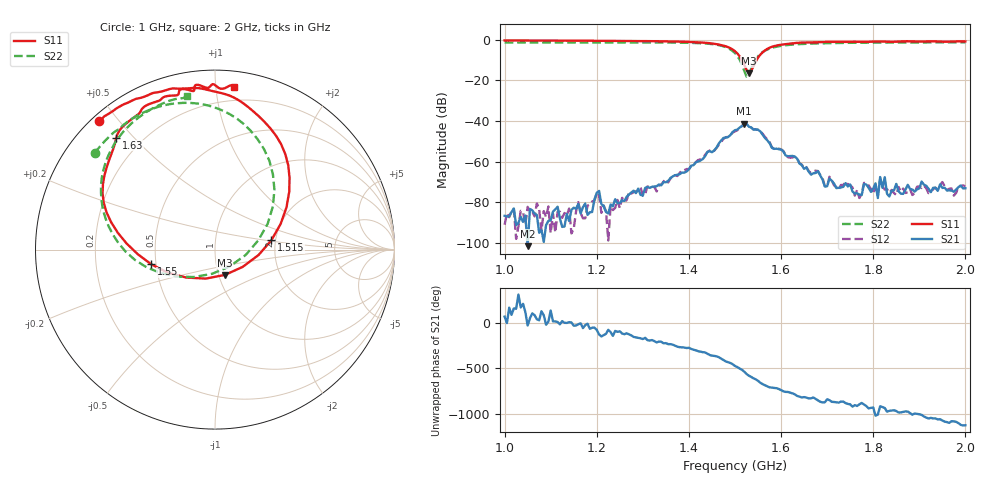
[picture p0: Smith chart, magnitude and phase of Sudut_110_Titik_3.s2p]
# Hz S RI R 50
! CMT, C1220, 16058040, 17.2.0/1
! Date: 14/08/2018 12:38:04
! Data: Format (Calibration Info)
! Freq  S11: Re/Im (F2)  S21: Re/Im (F2)  S12: Re/Im (F2)  S22: Re/Im (F2)
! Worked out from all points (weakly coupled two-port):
!   201 points, 1 GHz to 2 GHz, reference 50 ohm
!   highest |S21| = -41.34 dB at 1.52 GHz (marker M1); lowest = -101.6 dB at 1.05 GHz (marker M2)
!   lowest |S11| = -16.4 dB at 1.53 GHz (marker M3), VSWR 1.36, Z = 53.5 - j15.5 ohm
!   |S11| at or under -10 dB: 1.515 GHz to 1.547 GHz (31.64 MHz wide, 2.07 % of centre)
!   |S22| runs from -18.1 to -1.2 dB; largest |S21 - S12| = 0.00037
!   S11 on the Smith chart (normalised r, x): 1 GHz: 0.02, +0.44; 1.515 GHz: 1.90, +0.22; 1.55 GHz: 0.47, -0.09; 1.63 GHz: 0.11, +0.45; 2 GHz: 0.10, +1.12
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1e9  -0.6469 0.7145  1.95e-05 4.22e-05  -1.85e-05 -2.1e-05  -0.6704 0.5385
1.05e9  -0.6055 0.7492  7.01e-06 -4.49e-06  1.91e-05 7.52e-05  -0.6427 0.5719
1.17e9  -0.4754 0.8235  3.73e-05 -6.65e-05  2.86e-05 -2.86e-05  -0.5589 0.6562
1.335e9  -0.2134 0.8967  -0.000245 0.000126  -0.000234 0.000116  -0.3749 0.7742
1.45e9  0.1868 0.7927  0.00171 -7.03e-05  0.00179 -0.000186  0.0183 0.7845
1.5e9  0.4137 0.3227  -0.00254 -0.00539  -0.00236 -0.00507  0.3312 0.3343
1.515e9  0.3139 0.0516  -0.00692 -0.00297  -0.00691 -0.00312  0.2414 0.0519
1.52e9  0.2426 -0.0302  -0.00856 -0.000364  -0.00866 -0.000538  0.1711 -0.0299
1.53e9  0.0552 -0.1412  -0.00543 0.00485  -0.00551 0.00482  -0.0168 -0.1349
1.55e9  -0.3552 -0.0818  0.00093 0.00603  0.00069 0.00606  -0.3823 -0.098
1.63e9  -0.5502 0.6235  0.00053 -0.00122  0.000519 -0.00121  -0.6164 0.4627
1.67e9  -0.4348 0.7479  -9.43e-05 -0.000511  -0.000177 -0.000553  -0.5649 0.5811
1.77e9  -0.2348 0.8581  -0.000153 -1.14e-05  -0.000127 -1.49e-05  -0.4357 0.7281
1.78e9  -0.2112 0.8601  -0.000284 -1.11e-05  -0.000291 -7.77e-05  -0.4232 0.738
1.805e9  -0.1963 0.8892  0.000146 0.000255  -0.000103 0.000211  -0.3924 0.7597
1.81e9  -0.1896 0.8932  3.94e-05 0.000121  -0.000146 -1.56e-05  -0.3865 0.7638
1.815e9  -0.1801 0.8947  -0.000404 0.000112  -0.000373 2.67e-05  -0.3803 0.7673
1.82e9  -0.1675 0.8935  -0.000204 9.82e-05  -0.000204 0.000149  -0.3745 0.7707
1.825e9  -0.1535 0.891  -0.000337 0.000243  -0.000163 0.000123  -0.3688 0.7741
1.835e9  -0.1283 0.8841  -5.51e-05 0.000128  -0.000117 0.000125  -0.357 0.7815
1.85e9  -0.1156 0.8912  -0.000101 0.000265  1.43e-05 0.000151  -0.3393 0.7915
2e9  0.1034 0.907  0.000159 -0.000156  0.000161 -0.000189  -0.1576 0.8539
